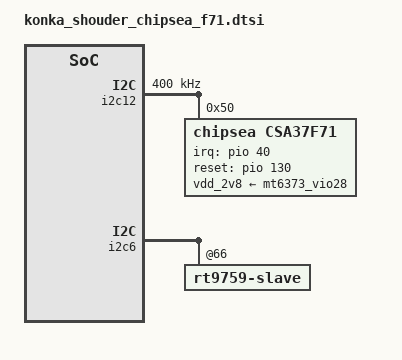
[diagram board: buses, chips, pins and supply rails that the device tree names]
&i2c12 {
	status = "okay";
	clock-frequency = <400000>;
	csa37f71@50 {
		status = "okay";
		compatible = "chipsea,csa37f71";
		reg = <0x50>;
		/* Interrupt && Irq-gpio */
		interrupt-parent = <&pio>;
		interrupts = <40 0x2008>;

		/* Power Config */
		vdd_2v8-supply = <&mt6373_vio28>;

		/* Other HW Resource */
		irq-gpio = <&pio 40 0x2008>;
		reset-gpio = <&pio 130 0>;
		/*wake-gpio = <&pio 98 0>;*/

		realtime-mode-0 = <120 110 200 190 10 10 20 10 50 100 500 300>;
		delay-mode-0 = <120 110 200 190 10 10 20 10 50 100 500 300>;
	};
};
/*
&tlmm {
	shoulder_state_key_active:shoulder_state_key_active{
		mux {
			pins = "gpio174", "gpio176";
			function = "gpio";
		};

		config {
			pins = "gpio174", "gpio176";
			drive-strength = <6>;
			bias-pull-up = <00>;
		};
	};
};

&soc {
	gpio_keys {
		compatible = "gpio-keys";
		label = "gpio-keys";

		pinctrl-names = "default";
		pinctrl-0 = <&shoulder_state_key_active>;
		shoulder_up {
			label = "shoulder_up";
			gpios = <&tlmm 174 GPIO_ACTIVE_LOW>;
			linux,input-type = <1>;
			linux,code = <752>;
			gpio-key,wakeup;
			debounce-interval = <5>;
			linux,can-disable;
		};
		shoulder_down {
			label = "shoulder_down";
			gpios = <&tlmm 176 GPIO_ACTIVE_LOW>;
			linux,input-type = <1>;
			linux,code = <753>;
			gpio-key,wakeup;
			debounce-interval = <5>;
			linux,can-disable;
		};
	};
};
*/


&mmc1_pins_default {
    pins-cmd-dat {
        pinmux = <PINMUX_GPIO127__FUNC_MSDC1_DAT0>,
            <PINMUX_GPIO128__FUNC_MSDC1_DAT1>,
            <PINMUX_GPIO129__FUNC_MSDC1_DAT2>,
            <PINMUX_GPIO126__FUNC_MSDC1_CMD>;
        input-enable;
        drive-strength = <3>;
        bias-pull-up = <MTK_PUPD_SET_R1R0_01>;
    };

    pins-clk {
        pinmux = <PINMUX_GPIO125__FUNC_MSDC1_CLK>;
        drive-strength = <3>;
        bias-pull-down = <MTK_PUPD_SET_R1R0_10>;
    };
};

&mmc1_pins_uhs {
    pins-cmd-dat {
        pinmux = <PINMUX_GPIO127__FUNC_MSDC1_DAT0>,
            <PINMUX_GPIO128__FUNC_MSDC1_DAT1>,
            <PINMUX_GPIO129__FUNC_MSDC1_DAT2>,
            <PINMUX_GPIO126__FUNC_MSDC1_CMD>;
        input-enable;
        drive-strength = <3>;
        bias-pull-up = <MTK_PUPD_SET_R1R0_01>;
    };

    pins-clk {
        pinmux = <PINMUX_GPIO125__FUNC_MSDC1_CLK>;
        drive-strength = <3>;
        bias-pull-down = <MTK_PUPD_SET_R1R0_10>;
    };
};


&i2c6 {
	rt9759-slave@66 {
		/delete-property/ rt9759,intr-gpios;
    };
};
